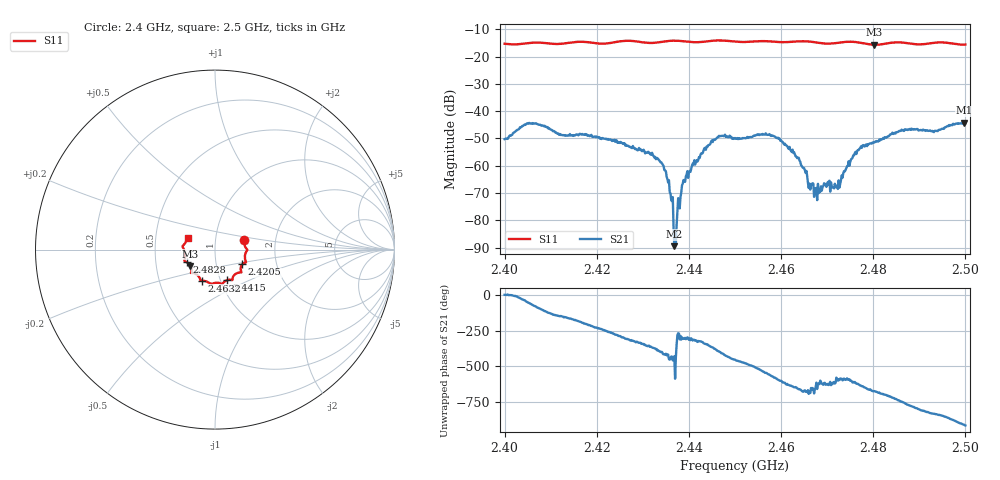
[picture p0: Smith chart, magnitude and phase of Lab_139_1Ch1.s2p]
# Hz S RI R 50
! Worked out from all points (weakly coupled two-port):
!   601 points, 2.4 GHz to 2.5 GHz, reference 50 ohm
!   highest |S21| = -44.25 dB at 2.4997 GHz (marker M1); lowest = -89.5 dB at 2.4368 GHz (marker M2)
!   lowest |S11| = -15.7 dB at 2.4802 GHz (marker M3), VSWR 1.39, Z = 37.4 - j6.99 ohm
!   |S11| at or under -10 dB: start of sweep to end of sweep
!   S12 and S22 are empty: the file has one direction only
!   S11 on the Smith chart (normalised r, x): 2.4 GHz: 1.38, +0.15; 2.4205 GHz: 1.34, -0.23; 2.4415 GHz: 1.07, -0.38; 2.4632 GHz: 0.82, -0.29; 2.4828 GHz: 0.72, -0.10; 2.5 GHz: 0.73, +0.10
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2.4e9  0.1636 0.0516  0.00306 0.000254  0 0  0 0
2.4055e9  0.1776 0.00245  0.0033 -0.00503  0 0  0 0
2.416667e9  0.173 -0.0699  -0.00369 0.000545  0 0  0 0
2.4205e9  0.1522 -0.0817  -0.00205 0.00264  0 0  0 0
2.433333e9  0.1007 -0.1515  0.00118 -0.000602  0 0  0 0
2.435167e9  0.0973 -0.1648  0.000301 -0.000554  0 0  0 0
2.436833e9  0.0967 -0.1696  1.26e-05 -3.12e-05  0 0  0 0
2.4375e9  0.0954 -0.1696  2.86e-05 0.000149  0 0  0 0
2.439167e9  0.0869 -0.1678  0.000242 0.000447  0 0  0 0
2.4415e9  0.0653 -0.1705  0.000822 0.000799  0 0  0 0
2.446333e9  0.0409 -0.1929  0.00284 -0.00172  0 0  0 0
2.45e9  0.0245 -0.1863  -0.000116 -0.00322  0 0  0 0
2.458e9  -0.0315 -0.1856  -0.00315 0.00172  0 0  0 0
2.463167e9  -0.0732 -0.1739  0.00039 0.00143  0 0  0 0
2.466667e9  -0.0821 -0.167  0.000267 0.00038  0 0  0 0
2.472333e9  -0.1215 -0.1309  -0.000188 0.000324  0 0  0 0
2.476167e9  -0.1334 -0.1273  -0.000449 0.00174  0 0  0 0
2.480167e9  -0.1367 -0.0909  0.00184 0.00194  0 0  0 0
2.482833e9  -0.1587 -0.0701  0.00309 0.00105  0 0  0 0
2.483333e9  -0.1625 -0.0681  0.0034 0.000634  0 0  0 0
2.499667e9  -0.1542 0.0599  -0.00604 0.00105  0 0  0 0
2.5e9  -0.153 0.0648  -0.00567 0.00158  0 0  0 0
